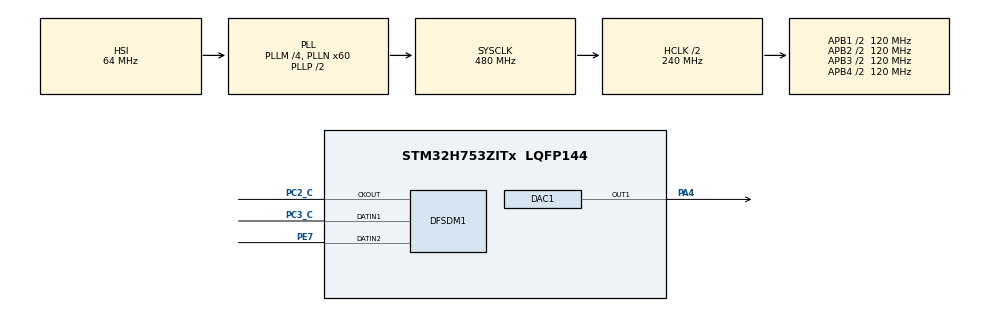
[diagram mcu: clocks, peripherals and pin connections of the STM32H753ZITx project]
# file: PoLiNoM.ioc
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CORTEX_M7.CPU_DCache=Disabled
CORTEX_M7.CPU_ICache=Disabled
CORTEX_M7.MPU_Control=__NULL
CORTEX_M7.default_mode_Activation=1
DAC1.DAC_Channel-DAC_OUT1=DAC_CHANNEL_1
DAC1.DAC_Trigger-DAC_OUT1=DAC_TRIGGER_T6_TRGO
DFSDM1.Divider=60
DFSDM1.DmaMode_reg_FIL0=ENABLE
DFSDM1.DmaMode_reg_FIL1=ENABLE
DFSDM1.FastMode_reg_FIL0=ENABLE
DFSDM1.FastMode_reg_FIL1=ENABLE
DFSDM1.FilterOrder_CH1=DFSDM_CHANNEL_SINC3_ORDER
DFSDM1.FilterOrder_CH2=DFSDM_CHANNEL_SINC3_ORDER
DFSDM1.Filter_regChannel_FIL0=DFSDM_CHANNEL_1
DFSDM1.Filter_regChannel_FIL1=DFSDM_CHANNEL_2
DFSDM1.Fosr_FIL0=64
DFSDM1.Fosr_FIL1=64
DFSDM1.Iosr_FIL0=2
DFSDM1.Iosr_FIL1=2
DFSDM1.RightBitShift_CH1=6
DFSDM1.RightBitShift_CH2=6
DFSDM1.Selection=DFSDM_CHANNEL_OUTPUT_CLOCK_AUDIO
DFSDM1.SincOrder_FIL0=DFSDM_FILTER_SINC3_ORDER
DFSDM1.SincOrder_FIL1=DFSDM_FILTER_SINC3_ORDER
Dma.DAC1_CH1.0.Direction=DMA_MEMORY_TO_PERIPH
Dma.DAC1_CH1.0.EventEnable=DISABLE
Dma.DAC1_CH1.0.FIFOMode=DMA_FIFOMODE_DISABLE
Dma.DAC1_CH1.0.Instance=DMA1_Stream2
Dma.DAC1_CH1.0.MemDataAlignment=DMA_MDATAALIGN_HALFWORD
Dma.DAC1_CH1.0.MemInc=DMA_MINC_ENABLE
Dma.DAC1_CH1.0.Mode=DMA_CIRCULAR
Dma.DAC1_CH1.0.PeriphDataAlignment=DMA_PDATAALIGN_HALFWORD
Dma.DAC1_CH1.0.PeriphInc=DMA_PINC_DISABLE
Dma.DAC1_CH1.0.Polarity=HAL_DMAMUX_REQ_GEN_RISING
Dma.DAC1_CH1.0.Priority=DMA_PRIORITY_LOW
Dma.DAC1_CH1.0.RequestNumber=1
Dma.DAC1_CH1.0.SignalID=NONE
Dma.DAC1_CH1.0.SyncEnable=DISABLE
Dma.DAC1_CH1.0.SyncPolarity=HAL_DMAMUX_SYNC_NO_EVENT
Dma.DAC1_CH1.0.SyncRequestNumber=1
Dma.DAC1_CH1.0.SyncSignalID=NONE
Dma.DFSDM1_FLT0.1.Direction=DMA_PERIPH_TO_MEMORY
Dma.DFSDM1_FLT0.1.EventEnable=DISABLE
Dma.DFSDM1_FLT0.1.FIFOMode=DMA_FIFOMODE_DISABLE
Dma.DFSDM1_FLT0.1.Instance=DMA1_Stream0
Dma.DFSDM1_FLT0.1.MemDataAlignment=DMA_MDATAALIGN_WORD
Dma.DFSDM1_FLT0.1.MemInc=DMA_MINC_ENABLE
Dma.DFSDM1_FLT0.1.Mode=DMA_CIRCULAR
Dma.DFSDM1_FLT0.1.PeriphDataAlignment=DMA_PDATAALIGN_WORD
Dma.DFSDM1_FLT0.1.PeriphInc=DMA_PINC_DISABLE
Dma.DFSDM1_FLT0.1.Polarity=HAL_DMAMUX_REQ_GEN_RISING
Dma.DFSDM1_FLT0.1.Priority=DMA_PRIORITY_HIGH
Dma.DFSDM1_FLT0.1.RequestNumber=1
Dma.DFSDM1_FLT0.1.SignalID=NONE
Dma.DFSDM1_FLT0.1.SyncEnable=DISABLE
Dma.DFSDM1_FLT0.1.SyncPolarity=HAL_DMAMUX_SYNC_NO_EVENT
Dma.DFSDM1_FLT0.1.SyncRequestNumber=1
Dma.DFSDM1_FLT0.1.SyncSignalID=NONE
Dma.DFSDM1_FLT1.2.Direction=DMA_PERIPH_TO_MEMORY
Dma.DFSDM1_FLT1.2.EventEnable=DISABLE
Dma.DFSDM1_FLT1.2.FIFOMode=DMA_FIFOMODE_DISABLE
Dma.DFSDM1_FLT1.2.Instance=DMA1_Stream1
Dma.DFSDM1_FLT1.2.MemDataAlignment=DMA_MDATAALIGN_WORD
Dma.DFSDM1_FLT1.2.MemInc=DMA_MINC_ENABLE
Dma.DFSDM1_FLT1.2.Mode=DMA_CIRCULAR
Dma.DFSDM1_FLT1.2.PeriphDataAlignment=DMA_PDATAALIGN_WORD
Dma.DFSDM1_FLT1.2.PeriphInc=DMA_PINC_DISABLE
Dma.DFSDM1_FLT1.2.Polarity=HAL_DMAMUX_REQ_GEN_RISING
Dma.DFSDM1_FLT1.2.Priority=DMA_PRIORITY_HIGH
Dma.DFSDM1_FLT1.2.RequestNumber=1
Dma.DFSDM1_FLT1.2.SignalID=NONE
Dma.DFSDM1_FLT1.2.SyncEnable=DISABLE
Dma.DFSDM1_FLT1.2.SyncPolarity=HAL_DMAMUX_SYNC_NO_EVENT
Dma.DFSDM1_FLT1.2.SyncRequestNumber=1
Dma.DFSDM1_FLT1.2.SyncSignalID=NONE
Dma.Request0=DAC1_CH1
Dma.Request1=DFSDM1_FLT0
Dma.Request2=DFSDM1_FLT1
Mcu.Family=STM32H7
Mcu.Name=STM32H753ZITx
Mcu.Package=LQFP144
NVIC.DMA1_Stream0_IRQn=true\:0\:0\:false\:false\:true\:false\:true\:true
NVIC.DMA1_Stream1_IRQn=true\:0\:0\:false\:false\:true\:false\:true\:true
NVIC.DMA1_Stream2_IRQn=true\:0\:0\:false\:false\:true\:false\:true\:true
NVIC.PriorityGroup=NVIC_PRIORITYGROUP_4
PA4.Signal=COMP_DAC11_group
PC14-OSC32_IN\ (OSC32_IN).Signal=RCC_OSC32_IN
PC15-OSC32_OUT\ (OSC32_OUT).Signal=RCC_OSC32_OUT
PC2_C.Signal=S_CKOUTDFSDM1
PC3_C.Signal=S_DATAIN1DFSDM1
PE7.Signal=S_DATAIN2DFSDM1
PH0-OSC_IN\ (PH0).Signal=RCC_OSC_IN
PH1-OSC_OUT\ (PH1).Signal=RCC_OSC_OUT
ProjectManager.HeapSize=0x200
ProjectManager.StackSize=0x400
ProjectManager.TargetToolchain=STM32CubeIDE
RCC.ADCFreq_Value=129000000
RCC.APB1Freq_Value=120000000
RCC.APB2Freq_Value=120000000
RCC.APB3Freq_Value=120000000
RCC.APB4Freq_Value=120000000
RCC.CortexFreq_Value=480000000
RCC.D1PPRE=RCC_APB3_DIV2
RCC.D2PPRE1=RCC_APB1_DIV2
RCC.D2PPRE2=RCC_APB2_DIV2
RCC.D3PPRE=RCC_APB4_DIV2
RCC.DIVM1=4
RCC.DIVN1=60
RCC.DIVQ1=4
RCC.HCLKFreq_Value=240000000
RCC.HPRE=RCC_HCLK_DIV2
RCC.HSE_VALUE=8000000
RCC.PLL2FRACN=0
RCC.PLL3FRACN=0
RCC.PLLFRACN=0
RCC.PWR_Regulator_Voltage_Scale=PWR_REGULATOR_VOLTAGE_SCALE0
RCC.SAI1CLockSelection=RCC_SAI1CLKSOURCE_PLL2
RCC.SYSCLKFreq_VALUE=480000000
RCC.SYSCLKSource=RCC_SYSCLKSOURCE_PLLCLK
RCC.USBFreq_Value=240000000
SH.COMP_DAC11_group.0=DAC1_OUT1,DAC_OUT1
SH.S_CKOUTDFSDM1.0=DFSDM1_CKOUT,PDM_SPI_input_from_ch1_and_internal_clock
SH.S_CKOUTDFSDM1.1=DFSDM1_CKOUT,PDM_SPI_input_from_ch2_and_internal_clock
SH.S_DATAIN1DFSDM1.0=DFSDM1_DATIN1,PDM_SPI_input_from_ch1_and_internal_clock
SH.S_DATAIN2DFSDM1.0=DFSDM1_DATIN2,PDM_SPI_input_from_ch2_and_internal_clock
TIM6.Period=9957
TIM6.TIM_MasterOutputTrigger=TIM_TRGO_UPDATE
VP_MEMORYMAP_VS_MEMORYMAP.Mode=CurAppReg
VP_TIM6_VS_ClockSourceINT.Mode=Enable_Timer
board=NUCLEO-H753ZI

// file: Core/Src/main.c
/* USER CODE BEGIN Header */
/**
  ******************************************************************************
  * @file           : main.c
  * @brief          : Main program body
  ******************************************************************************
  * @attention
  *
  * Copyright (c) 2025 STMicroelectronics.
  * All rights reserved.
  *
  * This software is licensed under terms that can be found in the LICENSE file
  * in the root directory of this software component.
  * If no LICENSE file comes with this software, it is provided AS-IS.
  *
  ******************************************************************************
  */
/* USER CODE END Header */
#include "main.h"

/* USER CODE BEGIN Includes */
#include "arm_math.h"
/* USER CODE END Includes */

/* USER CODE BEGIN PD */

#define NUM_TAPS 16 	// Filter size
#define BLOCK_SIZE 128 	// Size of the block to do the data treatment

/* USER CODE END PD */

DAC_HandleTypeDef hdac1;
DMA_HandleTypeDef hdma_dac1_ch1;

DFSDM_Filter_HandleTypeDef hdfsdm1_filter0;
DFSDM_Filter_HandleTypeDef hdfsdm1_filter1;
DFSDM_Channel_HandleTypeDef hdfsdm1_channel1;
DFSDM_Channel_HandleTypeDef hdfsdm1_channel2;
DMA_HandleTypeDef hdma_dfsdm1_flt0;
DMA_HandleTypeDef hdma_dfsdm1_flt1;

TIM_HandleTypeDef htim6;

/* USER CODE BEGIN PV */

int32_t mic1Raw[BLOCK_SIZE * 2];	// Input microphone raw data buffer
int32_t mic2Raw[BLOCK_SIZE * 2];	// Reference microphone raw data buffer
float32_t mic1Buf[BLOCK_SIZE * 2];	// Input microphone converted data buffer
float32_t mic2Buf[BLOCK_SIZE * 2];	// Reference microphone converted data buffer
float32_t outBuf[BLOCK_SIZE * 2];	// Output buffer
uint16_t dacBuf[BLOCK_SIZE * 2];	// DAC buffer

volatile uint8_t pingReady = 0;	// Flag for the first half process treatment
volatile uint8_t pongReady = 0;	// Flag for the second half process treatment
volatile uint8_t dacFree[2] = {0,0};	// Flag for DAC output

arm_lms_instance_f32 lms;					// LMS instance
float32_t lmsState [NUM_TAPS + BLOCK_SIZE];	// LMS state buffer
float32_t lmsCoeffs[NUM_TAPS];				// LMS coefficients buffer
float32_t errBuf[BLOCK_SIZE];				// LMS error output buffer
float32_t yBuf[BLOCK_SIZE];					// LMS signal output buffer
float32_t mu = 0.1f;						// Filter step
/* USER CODE END PV */

void SystemClock_Config(void);
static void MX_GPIO_Init(void);
static void MX_DMA_Init(void);
static void MX_DFSDM1_Init(void);
static void MX_TIM6_Init(void);
static void MX_DAC1_Init(void);
/* USER CODE BEGIN PFP */

void Audio_AppInit(void);
static void ConvertBlockToFloat(int32_t *in, float32_t *out, uint32_t n);
static void ProcessBlock(int32_t *mic1RawPtr,int32_t *mic2RawPtr,uint16_t *dacPtr,uint32_t  blockSize);
void Audio_ProcessLoop(void);

/* USER CODE END PFP */

/* USER CODE BEGIN 0 */

/**
  * @brief DFSDM Half conversion interruption
  * @param Instance of the DFSDM filter
  * @retval None
  */
void HAL_DFSDM_FilterRegConvHalfCpltCallback(DFSDM_Filter_HandleTypeDef *hdfsdm_filter)
{
    if (hdfsdm_filter == &hdfsdm1_filter0) {

    	// Activate the flag to process the first half of data
        pingReady = 1;
    }
}

/**
  * @brief DFSDM Full conversion interruption
  * @param Instance of the DFSDM filter
  * @retval None
  */
void HAL_DFSDM_FilterRegConvCpltCallback(DFSDM_Filter_HandleTypeDef *hdfsdm_filter)
{
    if (hdfsdm_filter == &hdfsdm1_filter0) {

    	// Activate the flag to process the second half of data
        pongReady = 1;
    }
}

/**
  * @brief DAC Half conversion interruption
  * @param Instance of the DAC
  * @retval None
  */
void HAL_DAC_ConvHalfCpltCallbackCh1(DAC_HandleTypeDef *hdac)
{

	(void)hdac;
	dacFree[0] = 1; // First half free to write

}

/**
  * @brief DAC Full conversion interruption
  * @param Instance of the DAC
  * @retval None
  */
void HAL_DAC_ConvCpltCallbackCh1(DAC_HandleTypeDef *hdac)
{

	(void)hdac;
	dacFree[1] = 1; // First half free to write

}
/* USER CODE END 0 */

int main(void)
{

  /* MCU Configuration--------------------------------------------------------*/

  /* Reset of all peripherals, Initializes the Flash interface and the Systick. */
  HAL_Init();

  /* Configure the system clock */
  SystemClock_Config();

  /* Initialize all configured peripherals */
  MX_GPIO_Init();
  MX_DMA_Init();
  MX_DFSDM1_Init();
  MX_TIM6_Init();
  MX_DAC1_Init();
  /* USER CODE BEGIN 2 */

  Audio_AppInit();      // Initialization function

  Audio_ProcessLoop();  // Main loop

  /* USER CODE END 2 */

  /* Infinite loop */
  while (1)
  {

  }
}

void SystemClock_Config(void)
{
  RCC_OscInitTypeDef RCC_OscInitStruct = {0};
  RCC_ClkInitTypeDef RCC_ClkInitStruct = {0};

  /** Supply configuration update enable
  */
  HAL_PWREx_ConfigSupply(PWR_LDO_SUPPLY);

  /** Configure the main internal regulator output voltage
  */
  __HAL_PWR_VOLTAGESCALING_CONFIG(PWR_REGULATOR_VOLTAGE_SCALE0);

  while(!__HAL_PWR_GET_FLAG(PWR_FLAG_VOSRDY)) {}

  /** Initializes the RCC Oscillators according to the specified parameters
  * in the RCC_OscInitTypeDef structure.
  */
  RCC_OscInitStruct.OscillatorType = RCC_OSCILLATORTYPE_HSI;
  RCC_OscInitStruct.HSIState = RCC_HSI_DIV1;
  RCC_OscInitStruct.HSICalibrationValue = RCC_HSICALIBRATION_DEFAULT;
  RCC_OscInitStruct.PLL.PLLState = RCC_PLL_ON;
  RCC_OscInitStruct.PLL.PLLSource = RCC_PLLSOURCE_HSI;
  RCC_OscInitStruct.PLL.PLLM = 4;
  RCC_OscInitStruct.PLL.PLLN = 60;
  RCC_OscInitStruct.PLL.PLLP = 2;
  RCC_OscInitStruct.PLL.PLLQ = 4;
  RCC_OscInitStruct.PLL.PLLR = 2;
  RCC_OscInitStruct.PLL.PLLRGE = RCC_PLL1VCIRANGE_3;
  RCC_OscInitStruct.PLL.PLLVCOSEL = RCC_PLL1VCOWIDE;
  RCC_OscInitStruct.PLL.PLLFRACN = 0;
  if (HAL_RCC_OscConfig(&RCC_OscInitStruct) != HAL_OK)
  {
    Error_Handler();
  }

  /** Initializes the CPU, AHB and APB buses clocks
  */
  RCC_ClkInitStruct.ClockType = RCC_CLOCKTYPE_HCLK|RCC_CLOCKTYPE_SYSCLK
                              |RCC_CLOCKTYPE_PCLK1|RCC_CLOCKTYPE_PCLK2
                              |RCC_CLOCKTYPE_D3PCLK1|RCC_CLOCKTYPE_D1PCLK1;
  RCC_ClkInitStruct.SYSCLKSource = RCC_SYSCLKSOURCE_PLLCLK;
  RCC_ClkInitStruct.SYSCLKDivider = RCC_SYSCLK_DIV1;
  RCC_ClkInitStruct.AHBCLKDivider = RCC_HCLK_DIV2;
  RCC_ClkInitStruct.APB3CLKDivider = RCC_APB3_DIV2;
  RCC_ClkInitStruct.APB1CLKDivider = RCC_APB1_DIV2;
  RCC_ClkInitStruct.APB2CLKDivider = RCC_APB2_DIV2;
  RCC_ClkInitStruct.APB4CLKDivider = RCC_APB4_DIV2;

  if (HAL_RCC_ClockConfig(&RCC_ClkInitStruct, FLASH_LATENCY_4) != HAL_OK)
  {
    Error_Handler();
  }
}

static void MX_DAC1_Init(void)
{

  DAC_ChannelConfTypeDef sConfig = {0};

  /** DAC Initialization
  */
  hdac1.Instance = DAC1;
  if (HAL_DAC_Init(&hdac1) != HAL_OK)
  {
    Error_Handler();
  }

  /** DAC channel OUT1 config
  */
  sConfig.DAC_SampleAndHold = DAC_SAMPLEANDHOLD_DISABLE;
  sConfig.DAC_Trigger = DAC_TRIGGER_T6_TRGO;
  sConfig.DAC_OutputBuffer = DAC_OUTPUTBUFFER_ENABLE;
  sConfig.DAC_ConnectOnChipPeripheral = DAC_CHIPCONNECT_DISABLE;
  sConfig.DAC_UserTrimming = DAC_TRIMMING_FACTORY;
  if (HAL_DAC_ConfigChannel(&hdac1, &sConfig, DAC_CHANNEL_1) != HAL_OK)
  {
    Error_Handler();
  }

}

static void MX_DFSDM1_Init(void)
{

  hdfsdm1_filter0.Instance = DFSDM1_Filter0;
  hdfsdm1_filter0.Init.RegularParam.Trigger = DFSDM_FILTER_SW_TRIGGER;
  hdfsdm1_filter0.Init.RegularParam.FastMode = ENABLE;
  hdfsdm1_filter0.Init.RegularParam.DmaMode = ENABLE;
  hdfsdm1_filter0.Init.FilterParam.SincOrder = DFSDM_FILTER_SINC3_ORDER;
  hdfsdm1_filter0.Init.FilterParam.Oversampling = 64;
  hdfsdm1_filter0.Init.FilterParam.IntOversampling = 2;
  if (HAL_DFSDM_FilterInit(&hdfsdm1_filter0) != HAL_OK)
  {
    Error_Handler();
  }
  hdfsdm1_filter1.Instance = DFSDM1_Filter1;
  hdfsdm1_filter1.Init.RegularParam.Trigger = DFSDM_FILTER_SW_TRIGGER;
  hdfsdm1_filter1.Init.RegularParam.FastMode = ENABLE;
  hdfsdm1_filter1.Init.RegularParam.DmaMode = ENABLE;
  hdfsdm1_filter1.Init.FilterParam.SincOrder = DFSDM_FILTER_SINC3_ORDER;
  hdfsdm1_filter1.Init.FilterParam.Oversampling = 64;
  hdfsdm1_filter1.Init.FilterParam.IntOversampling = 2;
  if (HAL_DFSDM_FilterInit(&hdfsdm1_filter1) != HAL_OK)
  {
    Error_Handler();
  }
  hdfsdm1_channel1.Instance = DFSDM1_Channel1;
  hdfsdm1_channel1.Init.OutputClock.Activation = ENABLE;
  hdfsdm1_channel1.Init.OutputClock.Selection = DFSDM_CHANNEL_OUTPUT_CLOCK_AUDIO;
  hdfsdm1_channel1.Init.OutputClock.Divider = 60;
  hdfsdm1_channel1.Init.Input.Multiplexer = DFSDM_CHANNEL_EXTERNAL_INPUTS;
  hdfsdm1_channel1.Init.Input.DataPacking = DFSDM_CHANNEL_STANDARD_MODE;
  hdfsdm1_channel1.Init.Input.Pins = DFSDM_CHANNEL_SAME_CHANNEL_PINS;
  hdfsdm1_channel1.Init.SerialInterface.Type = DFSDM_CHANNEL_SPI_RISING;
  hdfsdm1_channel1.Init.SerialInterface.SpiClock = DFSDM_CHANNEL_SPI_CLOCK_INTERNAL;
  hdfsdm1_channel1.Init.Awd.FilterOrder = DFSDM_CHANNEL_SINC3_ORDER;
  hdfsdm1_channel1.Init.Awd.Oversampling = 1;
  hdfsdm1_channel1.Init.Offset = 0;
  hdfsdm1_channel1.Init.RightBitShift = 6;
  if (HAL_DFSDM_ChannelInit(&hdfsdm1_channel1) != HAL_OK)
  {
    Error_Handler();
  }
  hdfsdm1_channel2.Instance = DFSDM1_Channel2;
  hdfsdm1_channel2.Init.OutputClock.Activation = ENABLE;
  hdfsdm1_channel2.Init.OutputClock.Selection = DFSDM_CHANNEL_OUTPUT_CLOCK_AUDIO;
  hdfsdm1_channel2.Init.OutputClock.Divider = 60;
  hdfsdm1_channel2.Init.Input.Multiplexer = DFSDM_CHANNEL_EXTERNAL_INPUTS;
  hdfsdm1_channel2.Init.Input.DataPacking = DFSDM_CHANNEL_STANDARD_MODE;
  hdfsdm1_channel2.Init.Input.Pins = DFSDM_CHANNEL_SAME_CHANNEL_PINS;
  hdfsdm1_channel2.Init.SerialInterface.Type = DFSDM_CHANNEL_SPI_RISING;
  hdfsdm1_channel2.Init.SerialInterface.SpiClock = DFSDM_CHANNEL_SPI_CLOCK_INTERNAL;
  hdfsdm1_channel2.Init.Awd.FilterOrder = DFSDM_CHANNEL_SINC3_ORDER;
  hdfsdm1_channel2.Init.Awd.Oversampling = 1;
  hdfsdm1_channel2.Init.Offset = 0;
  hdfsdm1_channel2.Init.RightBitShift = 6;
  if (HAL_DFSDM_ChannelInit(&hdfsdm1_channel2) != HAL_OK)
  {
    Error_Handler();
  }
  if (HAL_DFSDM_FilterConfigRegChannel(&hdfsdm1_filter0, DFSDM_CHANNEL_1, DFSDM_CONTINUOUS_CONV_ON) != HAL_OK)
  {
    Error_Handler();
  }
  if (HAL_DFSDM_FilterConfigRegChannel(&hdfsdm1_filter1, DFSDM_CHANNEL_2, DFSDM_CONTINUOUS_CONV_ON) != HAL_OK)
  {
    Error_Handler();
  }

}

static void MX_TIM6_Init(void)
{

  TIM_MasterConfigTypeDef sMasterConfig = {0};

  htim6.Instance = TIM6;
  htim6.Init.Prescaler = 0;
  htim6.Init.CounterMode = TIM_COUNTERMODE_UP;
  htim6.Init.Period = 9957;
  htim6.Init.AutoReloadPreload = TIM_AUTORELOAD_PRELOAD_DISABLE;
  if (HAL_TIM_Base_Init(&htim6) != HAL_OK)
  {
    Error_Handler();
  }
  sMasterConfig.MasterOutputTrigger = TIM_TRGO_UPDATE;
  sMasterConfig.MasterSlaveMode = TIM_MASTERSLAVEMODE_DISABLE;
  if (HAL_TIMEx_MasterConfigSynchronization(&htim6, &sMasterConfig) != HAL_OK)
  {
    Error_Handler();
  }

}

static void MX_DMA_Init(void)
{

  /* DMA controller clock enable */
  __HAL_RCC_DMA1_CLK_ENABLE();

  /* DMA interrupt init */
  /* DMA1_Stream0_IRQn interrupt configuration */
  HAL_NVIC_SetPriority(DMA1_Stream0_IRQn, 0, 0);
  HAL_NVIC_EnableIRQ(DMA1_Stream0_IRQn);
  /* DMA1_Stream1_IRQn interrupt configuration */
  HAL_NVIC_SetPriority(DMA1_Stream1_IRQn, 0, 0);
  HAL_NVIC_EnableIRQ(DMA1_Stream1_IRQn);
  /* DMA1_Stream2_IRQn interrupt configuration */
  HAL_NVIC_SetPriority(DMA1_Stream2_IRQn, 0, 0);
  HAL_NVIC_EnableIRQ(DMA1_Stream2_IRQn);

}

static void MX_GPIO_Init(void)
{

  /* GPIO Ports Clock Enable */
  __HAL_RCC_GPIOC_CLK_ENABLE();
  __HAL_RCC_GPIOH_CLK_ENABLE();
  __HAL_RCC_GPIOA_CLK_ENABLE();
  __HAL_RCC_GPIOE_CLK_ENABLE();

}

/* USER CODE BEGIN 4 */

/**
  * @brief Initializes the LMS filter, the DFSDM filters with DMA and the DAC with DMA
  * @param Filter of the DFSDM
  * @retval None
  */
void Audio_AppInit(void)
{

	// FIlls the coefficient buffer with zeros
	for (int i = 0; i < NUM_TAPS; i++) {
        lmsCoeffs[i] = 0.0f;
    }

	// Fills the DAC buffer with silence
	for (int i = 0; i < BLOCK_SIZE*2; i++){
		dacBuf[i] = 2048;
	}

	// CMSIS-DSP LMS filter initialization function for float32_t
    arm_lms_init_f32(&lms,
                     NUM_TAPS,
                     lmsCoeffs,
                     lmsState,
                     mu,
                     BLOCK_SIZE);

    // Initialization of DFSDM+DMA with circular buffer (configured in the CubeMX)
    HAL_DFSDM_FilterRegularStart_DMA(&hdfsdm1_filter0,
                                     (int32_t*)mic1Raw,
                                     BLOCK_SIZE * 2);

    HAL_DFSDM_FilterRegularStart_DMA(&hdfsdm1_filter1,
                                     (int32_t*)mic2Raw,
                                     BLOCK_SIZE * 2);

    // Start the timer to trigger the DAC
    HAL_TIM_Base_Start(&htim6);

    // Initialization of the DAC+DMA using the outBuf
    if(HAL_DAC_Start_DMA(&hdac1,
                      DAC_CHANNEL_1,
                      (uint32_t*)dacBuf,
                      BLOCK_SIZE * 2,
                      DAC_ALIGN_12B_R) != HAL_OK){
    	Error_Handler();
    }
}

/**
  * @brief Converts a int32-t block into a float32-t block
  * @param in: pointed int32_t block to be converted
  * @param out: pointed float32_t block to pass the converted data
  * @param n: size of the block
  * @retval None
  */
static void ConvertBlockToFloat(int32_t *in, float32_t *out, uint32_t n)
{
    // 24 bits -> [-1, 1]
    for (uint32_t i = 0; i < n; i++) {
        out[i] = (float32_t)in[i] / 8388608.0f;   // 2^23
    }
}

/**
  * @brief Process the data from the microphones with the LMS filter
  * @param mic1RawPtr: pointer to the data in the input microphone
  * @param mic1RawPtr: pointer to the data in the reference microphone
  * @param outPtr: pointer to the output buffer
  * @param blockSize: block size
  * @retval None
  */
static void ProcessBlock(int32_t *mic1RawPtr,
                         int32_t *mic2RawPtr,
                         uint16_t *dacPtr,
                         uint32_t  blockSize)
{
    // Converts int32 DFSDM -> float32
    ConvertBlockToFloat(mic1RawPtr, mic1Buf, blockSize);
    ConvertBlockToFloat(mic2RawPtr, mic2Buf, blockSize);

    // LMS: x = mic2 (reference), d = mic1 (signal+noise)
    arm_lms_f32(&lms,
                mic2Buf,
                mic1Buf,
                yBuf,
                errBuf,
                blockSize);

    // Maps the error to the DAC
    for (uint32_t i = 0; i < blockSize; i++) {
       // float32_t s = errBuf[i];
        float32_t s = errBuf[i];

        if (s > 1.0f)  s = 1.0f;
        if (s < -1.0f) s = -1.0f;

        uint16_t dac = (uint16_t)((s * 0.5f + 0.5f) * 4095.0f + 0.5f);
        dacPtr[i] = dac;
    }
}

/**
  * @brief Loop to call the processing functions when the flags are active
  * @retval None
  */
void Audio_ProcessLoop(void)
{
    while (1)
    {
        if (pingReady) {
            pingReady = 0;
            while(dacFree[0] == 0);
            dacFree[0] = 0;
            ProcessBlock(&mic1Raw[0],
                         &mic2Raw[0],
                         &dacBuf[0],
                         BLOCK_SIZE);
        }

        if (pongReady) {
            pongReady = 0;
            while(dacFree[1] == 0);
            dacFree[1] = 0;
            ProcessBlock(&mic1Raw[BLOCK_SIZE],
                         &mic2Raw[BLOCK_SIZE],
                         &dacBuf[BLOCK_SIZE],
                         BLOCK_SIZE);
        }

    }
}

/* USER CODE END 4 */

void Error_Handler(void)
{
  __disable_irq();
  while (1)
  {
  }
}
